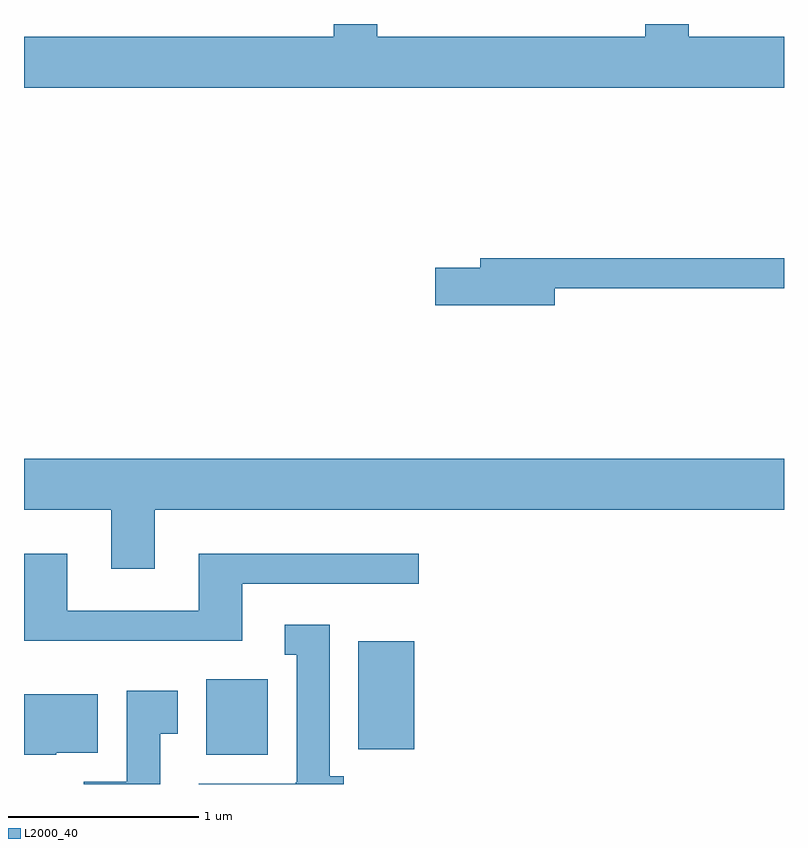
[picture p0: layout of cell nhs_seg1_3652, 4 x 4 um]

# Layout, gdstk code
import gdstk
lib = gdstk.Library(unit=1e-6, precision=1e-09)
def R(c, l, rs):  # rectangles x0, y0, x1, y1
    for r in rs: c.add(gdstk.rectangle(r[:2], r[2:], *l))
def P(c, l, *ps):  # polygons
    for p in ps: c.add(gdstk.Polygon(p, *l))
L2000_40 = (2000, 40)

nhs_seg1_3652 = lib.new_cell('nhs_seg1_3652')
R(nhs_seg1_3652, L2000_40, [(296.571,873.866,296.894,874.264), (297.371,873.896,297.664,874.464)])
P(nhs_seg1_3652, L2000_40, [(299.611,877.644),(299.109,877.644),(299.109,877.712),(298.881,877.712),(298.881,877.644),(297.469,877.644),(297.469,877.712),(297.241,877.712),(297.241,877.644),(295.611,877.644),(295.611,877.376),(299.611,877.376)],
  [(298.404,876.321),(299.611,876.321),(299.611,876.479),(298.011,876.479),(298.011,876.429),(297.776,876.429),(297.776,876.231),(298.404,876.231)],
  [(296.299,875.156),(299.611,875.156),(299.611,875.424),(295.611,875.424),(295.611,875.156),(296.071,875.156),(296.071,874.846),(296.299,874.846)],
  [(296.759,874.766),(297.688,874.766),(297.688,874.924),(296.531,874.924),(296.531,874.624),(295.839,874.624),(295.839,874.924),(295.611,874.924),(295.611,874.466),(296.759,874.466)],
  [(297.294,873.754),(297.219,873.754),(297.219,874.549),(296.983,874.549),(296.983,874.391),(297.046,874.391),(297.046,873.72),(297.04,873.72),(297.04,873.714),(296.531,873.714),(296.531,873.712),(297.294,873.712)],
  [(296.329,873.976),(296.419,873.976),(296.419,874.204),(296.151,874.204),(296.151,873.724),(295.926,873.724),(295.926,873.712),(296.329,873.712)],
  [(295.78,873.876),(295.999,873.876),(295.999,874.184),(295.611,874.184),(295.611,873.866),(295.78,873.866)])

lib.write_gds('nhs_seg1_3652.gds')
